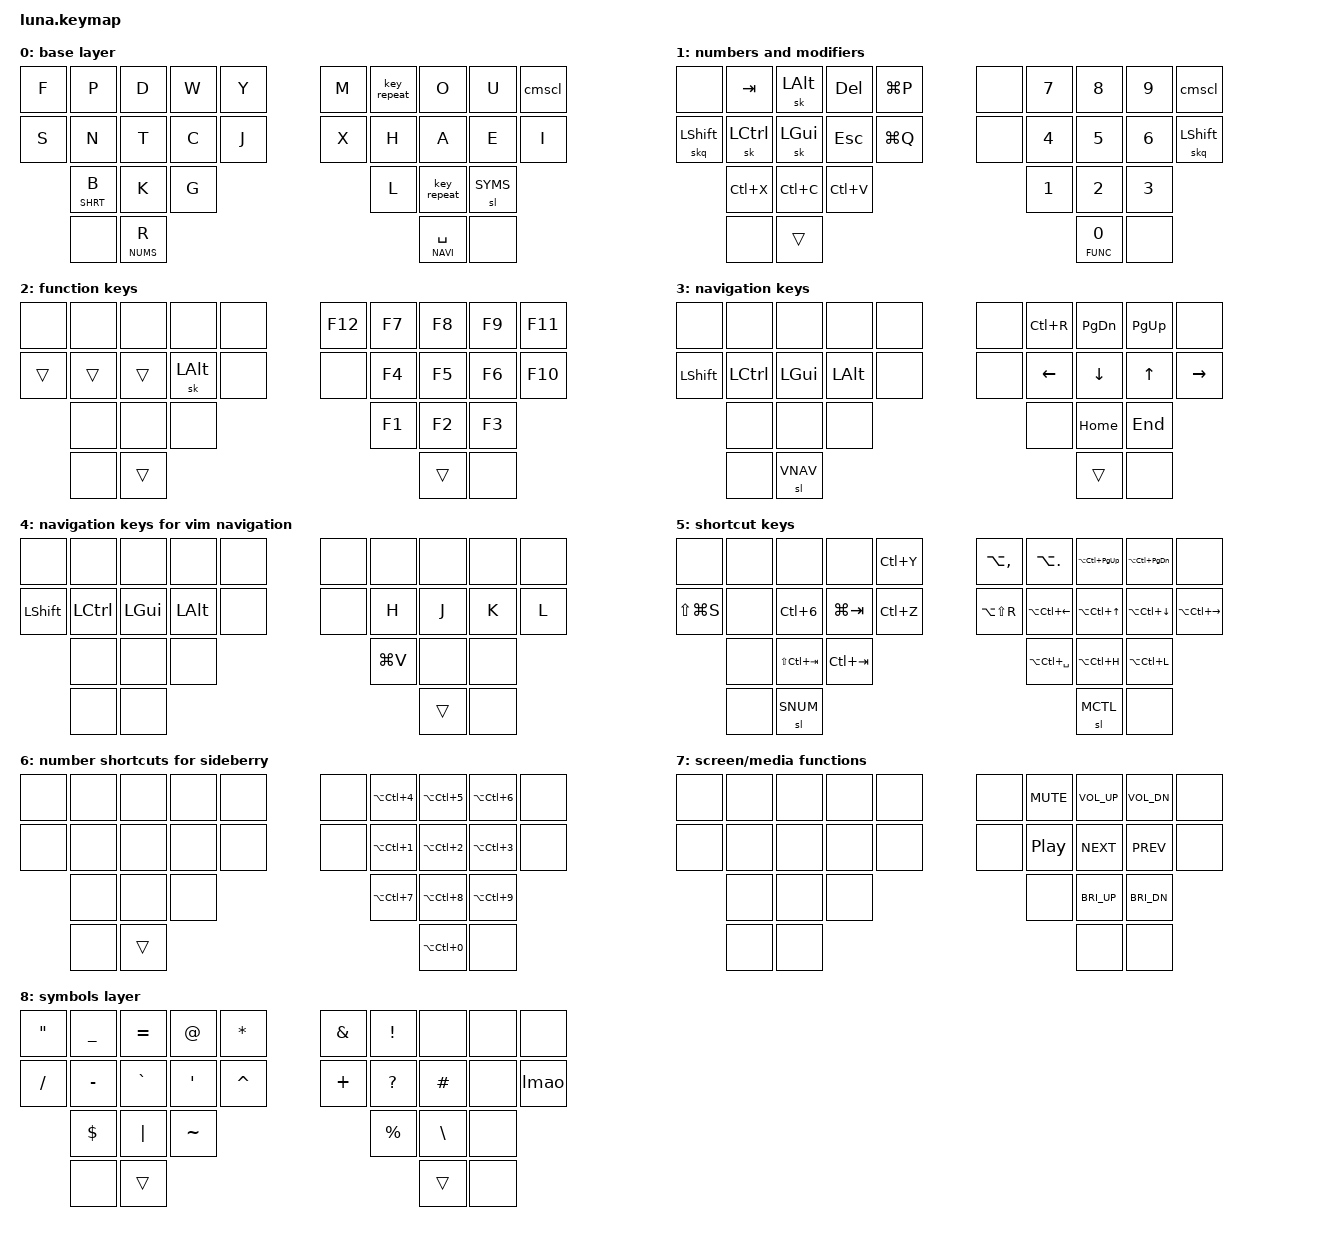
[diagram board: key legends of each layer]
/*
 * Copyright (c) 2020 The ZMK Contributors
 *
 * SPDX-License-Identifier: MIT
 */

#include <behaviors.dtsi>
#include <dt-bindings/zmk/keys.h>
#include <dt-bindings/zmk/bt.h>

// layer definitions
#define LUNA 0
#define NUMS 1
#define FUNC 2
#define NAVI 3
#define VNAV 4
#define SHRT 5
#define SNUM 6
#define MCTL 7
#define SYMS 8
// -----------------
&sl {
    release-after-ms = <1750>;
};

/ {
    behaviors {
        skq: sticky_key_quick_release {
            compatible = "zmk,behavior-sticky-key";
            label = "STICKY_KEY_QUICK_RELEASE";
            #binding-cells = <1>;
            bindings = <&kp>;
            release-after-ms = <1750>;
            quick-release;
        };

        pdcol: period_colon {
            compatible = "zmk,behavior-mod-morph";
            #binding-cells = <0>;
            bindings = <&kp DOT>, <&kp COLON>;
            mods = <(MOD_LSFT)>;
        };

        cmscl: comma_semicolon {
            compatible = "zmk,behavior-mod-morph";
            #binding-cells = <0>;
            bindings = <&kp COMMA>, <&kp SEMI>;
            mods = <(MOD_LSFT)>;
        };

        bht: balanced_hold_tap {
            compatible = "zmk,behavior-hold-tap";
            #binding-cells = <2>;
            tapping-term-ms = <180>;
            quick-tap-ms = <10>;
            flavor = "balanced";
            bindings = <&sl>, <&kp>;
        };
    };

   combos {
        compatible = "zmk,combos";

        #define COMBO(NAME, BINDINGS, KEYPOS, LAYERS, MS) \
          combo_##NAME { \
            bindings = <BINDINGS>; \
            key-positions = <KEYPOS>; \
            layers = <LAYERS>; \
            timeout-ms = <MS>; \
        };

        // BSPC, ENTER, CAPS
        COMBO(bspc, &kp BSPC, 6 7, 0 1, 30)
        COMBO(cbspc, &kp LC(BSPC), 6 7 8, 0 1, 30)
        COMBO(ctrlw, &kp LC(W), 6 7 8 9, 0 1, 30)
        COMBO(enter, &kp ENTER, 23 24 25, 0 1, 30)
        COMBO(caps, &kp CAPS, 14 15, 0, 30)
        COMBO(capsword, &caps_word, 3 6, 0, 30)

        // BRACKETS
        COMBO(rangle, &kp GT, 5 15, 0, 50)
        COMBO(langle, &kp LT, 4 14, 0, 50)
        COMBO(rround, &kp RPAR, 6 16, 0, 50)
        COMBO(lround, &kp LPAR, 3 13, 0, 50)
        COMBO(rcurve, &kp RBRC, 7 17, 0, 50)
        COMBO(lcurve, &kp LBRC, 2 12, 0, 50)
        COMBO(rsquare, &kp RBKT, 8 18, 0, 50)
        COMBO(lsquare, &kp LBKT, 1 11, 0, 50)

        // ALPHAS
        COMBO(z, &kp Z, 0 10, 0, 50)
        COMBO(v, &kp V, 13 22, 0, 50)
        COMBO(q, &kp Q, 16 23, 0, 50)
        COMBO(dot, &pdcol, 9 19, 0 1, 50)
    };

    macros {
        lmao: lmao {
            compatible = "zmk,behavior-macro";
            #binding-cells = <0>;
            bindings
                =  <&macro_tap &kp L &kp M &kp A &kp O>
                ;
        };
    };

    keymap {
        compatible = "zmk,keymap";
                
        luna_layer {
            label = "base layer";
            bindings = <
                &kp F &kp P     &kp D &kp W &kp Y                &kp M &key_repeat &kp O       &kp U    &cmscl 
                &kp S &kp N     &kp T &kp C &kp J                &kp X &kp H       &kp A       &kp E    &kp I
                      &bht SHRT B &kp K &kp G                           &kp L       &key_repeat &sl SYMS
                        &none  &bht NUMS R                                &bht NAVI SPACE &none 
            >;
        };       
                 
        nums_layer {
            label = "numbers and modifiers";
            bindings = <
                &none       &kp TAB   &sk LALT  &kp DEL &kp LG(P)	    &none &kp N7 &kp N8 &kp N9 &cmscl
                &skq LSHIFT &sk LCTRL &sk LGUI  &kp ESC &kp LG(Q)	    &none &kp N4 &kp N5 &kp N6 &skq LSHIFT
                            &kp LC(X) &kp LC(C) &kp LC(V) 	    	          &kp N1 &kp N2 &kp N3
                              &none &trans                                      &bht FUNC N0 &none  
            >;
        };
                 
        func_layer {
            label = "function keys";
            bindings = <
                &none  &none  &none  &none    &none	      &kp F12 &kp F7 &kp F8 &kp F9 &kp F11
                &trans &trans &trans &sk LALT &none	      &none   &kp F4 &kp F5 &kp F6 &kp F10
                       &none  &none  &none 	    	              &kp F1 &kp F2 &kp F3
                         &none  &trans                              &trans &none  
            >;
        };

        navi_layer {
            label = "navigation keys";
            bindings = <
                &none      &none     &none    &none    &none	    &none  &kp LC(R) &kp PG_DN  &kp PG_UP  &none
                &kp LSHIFT &kp LCTRL &kp LGUI &kp LALT &none	    &none  &kp LEFT  &kp DOWN   &kp UP     &kp RIGHT
                           &none     &none    &none 	       	           &none     &kp HOME   &kp END
                             &none  &sl VNAV                                 &trans &none  
            >;
        };   

        vnav_layer {
            label = "navigation keys for vim navigation";
            bindings = <
                &none      &none     &none    &none    &none	    &none &none     &none   &none    &none
                &kp LSHIFT &kp LCTRL &kp LGUI &kp LALT &none	    &none &kp H     &kp J   &kp K    &kp L
                           &none     &none    &none 	       	          &kp LG(V) &none   &none
                            &none  &none                                    &trans &none  
            >;
        };  
                
        shrt_layer {
            label = "shortcut keys";
            bindings = <
                &none         &none &none           &none       &kp LC(Y)	    &kp LA(COMMA) &kp LA(DOT)       &kp LA(LC(PG_UP)) &kp LA(LC(PG_DN)) &none
                &kp LS(LG(S)) &none &kp LC(N6)      &kp LG(TAB) &kp LC(Z)	    &kp LA(LS(R)) &kp LA(LC(LEFT))  &kp LA(LC(UP))    &kp LA(LC(DOWN))  &kp LA(LC(RIGHT)) 
                              &none &kp LS(LC(TAB)) &kp LC(TAB) 	    	                  &kp LA(LC(SPACE)) &kp LA(LC(H))     &kp LA(LC(L))
                                &none  &sl SNUM                                                 &sl MCTL &none
            >;
        };  
        
        snum_layer {
            label = "number shortcuts for sideberry";
            bindings = <
                &none &none &none &none &none	    &none &kp LA(LC(N4)) &kp LA(LC(N5)) &kp LA(LC(N6)) &none
                &none &none &none &none &none	    &none &kp LA(LC(N1)) &kp LA(LC(N2)) &kp LA(LC(N3)) &none
                      &none &none &none 	    	      &kp LA(LC(N7)) &kp LA(LC(N8)) &kp LA(LC(N9))
                        &none  &trans                       &kp LA(LC(N0)) &none  
            >;
        };      

        mctl_layer {
            label = "screen/media functions";
            bindings = <
                &none &none &none &none &none	    &none &kp C_MUTE   &kp C_VOL_UP &kp C_VOL_DN &none
                &none &none &none &none &none	    &none &kp C_PP     &kp C_NEXT   &kp C_PREV   &none
                      &none &none &none 	    	      &none        &kp C_BRI_UP &kp C_BRI_DN
                        &none  &none                       &none &none  
            >;
        };  

        syms_layer {
            label = "symbols layer";
            bindings = <
                &kp DQT  &kp UNDER &kp EQUAL &kp AT  &kp STAR	    &kp AMPS &kp EXCL  &none    &none &none
                &kp FSLH &kp MINUS &kp GRAVE &kp SQT &kp CARET 	    &kp PLUS &kp QMARK &kp HASH  &none &lmao
                         &kp DLLR  &kp PIPE  &kp TILDE	    	             &kp PRCNT &kp BSLH &none
                           &none  &trans                                       &trans &none  
            >;
        };

    };
};
